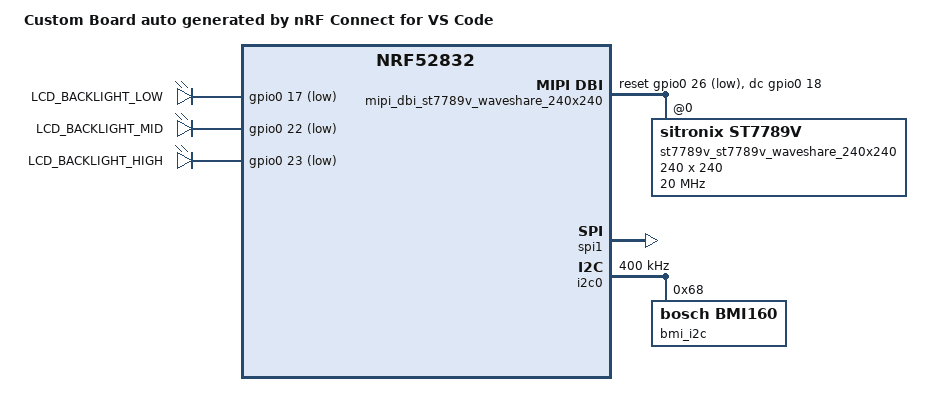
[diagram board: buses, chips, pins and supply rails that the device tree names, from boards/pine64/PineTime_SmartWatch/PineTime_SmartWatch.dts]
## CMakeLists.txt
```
cmake_minimum_required(VERSION 3.13.1)

find_package(Zephyr REQUIRED HINTS $ENV{ZEPHYR_BASE})

project(InfiniTime_Zephyr C CXX)

set(NORDIC_SDK_PATH /Users/an.bui-thien/Downloads/nRF5_SDK_15.3.0_59ac345)

target_include_directories(app PRIVATE 
    src 
    src/systemtask 
    src/components/datetime 
    src/components/fs 
    src/components/settings
    src/components/datetime
    src/components/firmwarevalidator
    src/systemtask
    src/displayapp 
    src/drivers
    src/littlefs
    ${NORDIC_SDK_PATH}/modules/nrfx/drivers/include
    ${NORDIC_SDK_PATH}/modules/nrfx/hal
    ${NORDIC_SDK_PATH}/components/libraries/util
    ${NORDIC_SDK_PATH}/components
    ${NORDIC_SDK_PATH}/components/softdevice/s112/headers
    ${NORDIC_SDK_PATH}/external/freertos/source/include
    )


target_sources(app PRIVATE
    src/main_testing.cpp
    src/drivers/SpiMaster.cpp
    src/drivers/Spi.cpp
    src/drivers/St7789.cpp
    src/drivers/SpiNorFLash.cpp
    src/drivers/TwiMaster.cpp
    src/components/fs/FS.cpp
    src/littlefs/lfs.c
    src/components/settings/Settings.cpp
    src/components/datetime/DateTimeController.cpp
    src/components/firmwarevalidator/FirmwareValidator.cpp
    src/displayapp/DisplayApp.cpp
    src/displayapp/LittleVgl.cpp
    src/systemtask/SystemTask.cpp
)
```

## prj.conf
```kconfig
CONFIG_CPP=y
CONFIG_STDOUT_CONSOLE=y

CONFIG_GLIBCXX_LIBCPP=y   
CONFIG_REQUIRES_FULL_LIBCPP=n


CONFIG_CONSOLE=y                    # Enable console
CONFIG_LOG=y                        # Enable LOG

CONFIG_USE_SEGGER_RTT=y             # Enable RTT SEGGER
CONFIG_RTT_CONSOLE=y                # Enable printk() via RTT
CONFIG_LOG_BACKEND_RTT=y            # Enable LOG_XXX() via RTT
CONFIG_LOG_BACKEND_SHOW_COLOR=y     # Enable color for LOG_XXX()
CONFIG_LOG_MODE_MINIMAL=n           # Enable mini version for LOG_XXX()
CONFIG_LOG_MODE_IMMEDIATE=y         # Immediately LOG

CONFIG_LOG_BACKEND_UART=y           # Enable LOG_XXX() via UART
CONFIG_UART_CONSOLE=y               # Enable printk() via UART
CONFIG_GPIO=y                       # Enable uart driver
CONFIG_SERIAL=y                     # Enable console




CONFIG_GPIO=y
CONFIG_DISPLAY=y
CONFIG_DISPLAY_LOG_LEVEL_DBG=y

CONFIG_LVGL=y
#CONFIG_LV_USE_LOG=n
#CONFIG_LV_USE_LABEL=y
#CONFIG_LV_FONT_MONTSERRAT_48=y
CONFIG_LV_Z_MEM_POOL_HEAP_LIB_C=y

CONFIG_LV_USE_DEMO_BENCHMARK=y





CONFIG_NEWLIB_LIBC=n



CONFIG_MAIN_STACK_SIZE=10240
CONFIG_IDLE_STACK_SIZE=10240


CONFIG_CLOCK_CONTROL_NRF_K32SRC_RC=y
CONFIG_CLOCK_CONTROL_NRF_K32SRC_XTAL=n
CONFIG_CLOCK_CONTROL_NRF_K32SRC_500PPM=y
```

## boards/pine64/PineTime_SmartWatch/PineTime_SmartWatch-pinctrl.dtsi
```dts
&pinctrl {
    spi1_default: spi1_default {
		group1 {
				psels = <NRF_PSEL(SPIM_SCK, 0, 2)>,
						<NRF_PSEL(SPIM_MOSI, 0, 3)>;
		};
	};
	spi1_sleep: spi1_sleep {
		group1 {
				psels = <NRF_PSEL(SPIM_SCK, 0, 2)>,
						<NRF_PSEL(SPIM_MOSI, 0, 3)>;
				low-power-enable;
		};
	};
    i2c0_default: i2c0_default {
		group1 {
			psels = <NRF_PSEL(TWIM_SDA, 0, 7)>,
				<NRF_PSEL(TWIM_SCL, 0, 8)>;
		};
	};

	i2c0_sleep: i2c0_sleep {
		group1 {
			psels = <NRF_PSEL(TWIM_SDA, 0, 7)>,
				<NRF_PSEL(TWIM_SCL, 0, 8)>;
			low-power-enable;
		};
	};
	uart0_default: uart0_default {
        group1 {
            psels = <NRF_PSEL(UART_TX, 0, 8)>; // P0.22
			psels = <NRF_PSEL(UART_RX, 0, 6)>; // P0.21
        };
    };

    uart0_sleep: uart0_sleep {
        group1 {
            psels = <NRF_PSEL(UART_TX, 0, 8)>;
			psels = <NRF_PSEL(UART_RX, 0, 6)>;
        };
    };


};
```

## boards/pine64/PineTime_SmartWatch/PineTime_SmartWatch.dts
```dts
/dts-v1/;
#include <nordic/nrf52832_qfaa.dtsi>
#include "PineTime_SmartWatch-pinctrl.dtsi"
#include <zephyr/dt-bindings/input/input-event-codes.h>
#include <zephyr/dt-bindings/mipi_dbi/mipi_dbi.h>

/ {
	model = "Custom Board auto generated by nRF Connect for VS Code";
	compatible = "pine64,PineTime-SmartWatch";

	chosen {
		zephyr,sram = &sram0;
		zephyr,flash = &flash0;
		zephyr,code-partition = &slot0_partition;
		zephyr,display = &st7789v_st7789v_waveshare_240x240;
	};
	backlight {
        compatible = "gpio-leds";

        backlight_low: backlight_low {
            gpios = <&gpio0 17 GPIO_ACTIVE_LOW>;
            label = "LCD_BACKLIGHT_LOW";
        };

        backlight_mid: backlight_mid {
            gpios = <&gpio0 22 GPIO_ACTIVE_LOW>;
            label = "LCD_BACKLIGHT_MID";
        };

        backlight_high: backlight_high {
            gpios = <&gpio0 23 GPIO_ACTIVE_LOW>;
            label = "LCD_BACKLIGHT_HIGH";
        };
    };
	    aliases {
        backlightlow  = &backlight_low;
        backlightmid  = &backlight_mid;
        backlighthigh = &backlight_high;
		accel0 = &bmi_i2c;
    };

	mipi_dbi_st7789v_waveshare_240x240 {
		compatible = "zephyr,mipi-dbi-spi";
		spi-dev = <&spi1>;
		dc-gpios = <&gpio0 18 GPIO_ACTIVE_HIGH>;	/* LCD_RS (P0.18) */
		reset-gpios = <&gpio0 26 GPIO_ACTIVE_LOW>;	/* LCD_RESET (P0.26) */
		write-only;
		#address-cells = <1>;
		#size-cells = <0>;
		st7789v_st7789v_waveshare_240x240: st7789v@0 {
			compatible = "sitronix,st7789v";
			mipi-max-frequency = <20000000>;
			reg = <0>;
			width = <240>;
			height = <240>;
			x-offset = <0>;
			y-offset = <0>;
			vcom = <0x19>;
			gctrl = <0x35>;
			vrhs = <0x12>;
			vdvs = <0x20>;
			mdac = <0x00>;
			gamma = <0x01>;
			colmod = <0x05>;
			lcm = <0x2c>;
			porch-param = [0c 0c 00 33 33];
			cmd2en-param = [5a 69 02 01];
			pwctrl1-param = [a4 a1];
			pvgam-param = [D0 04 0D 11 13 2B 3F 54 4C 18 0D 0B 1F 23];
			nvgam-param = [D0 04 0C 11 13 2C 3F 44 51 2F 1F 1F 20 23];
			ram-param = [00 F0];
			rgb-param = [CD 08 14];
			mipi-mode = "MIPI_DBI_MODE_SPI_4WIRE";

		};
	};
};

&flash0 {
	partitions {
		compatible = "fixed-partitions";
		#address-cells = <1>;
		#size-cells = <1>;

		boot_partition: partition@0 {
			label = "mcuboot";
			reg = <0x00000000 DT_SIZE_K(48)>;
		};

		slot0_partition: partition@c000 {
			label = "image-0";
			reg = <0x0000c000 DT_SIZE_K(464)>;
		};

		// slot1_partition: partition@43000 {
		// 	label = "image-1";
		// 	reg = <0x00043000 DT_SIZE_K(220)>;
		// };

		storage_partition: partition@7a000 {
			label = "storage";
			reg = <0x0007a000 DT_SIZE_K(4)>;
		};
	};
};

&spi1 {
	status = "okay";
	cs-gpios = <&gpio0 25 GPIO_ACTIVE_LOW>;	/* LCD_CS (P0.25) */
	pinctrl-0 = < &spi1_default >; 
	pinctrl-1 = < &spi1_sleep >;  
	pinctrl-names = "default", "sleep";
	
};




&gpio0 {
    status = "okay";
};
&gpiote {
	status = "okay";
   };  
&spi0 {
    status = "disabled";
};
&spi1 {
    status = "okay";
};

&i2c0 {
	status = "okay";
	clock-frequency = <I2C_BITRATE_FAST>;
	pinctrl-0 = <&i2c0_default>;
	pinctrl-1 = <&i2c0_sleep>;
	pinctrl-names = "default", "sleep";
	bmi_i2c: bmi@68 {
		compatible = "bosch,bmi160";
		reg = <0x68>;
		status = "okay";
	};
};


&uart0 {
    status = "disabled";
    current-speed = <115200>;
    pinctrl-0 = <&uart0_default>;
    pinctrl-1 = <&uart0_sleep>;
    pinctrl-names = "default", "sleep";
};
```

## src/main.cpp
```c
/*
 * Copyright (c) 2018 Jan Van Winkel <jan.van_winkel@dxplore.eu>
 *
 * SPDX-License-Identifier: Apache-2.0
 */

#include <zephyr/device.h>
#include <zephyr/devicetree.h>
#include <zephyr/drivers/display.h>
#include <zephyr/drivers/gpio.h>
#include <lvgl.h>
#include <stdio.h>
#include <string.h>
#include <zephyr/kernel.h>
#include <lvgl_input_device.h>
#include <zephyr/drivers/gpio.h>

#define LOG_LEVEL CONFIG_LOG_DEFAULT_LEVEL
#include <zephyr/logging/log.h>
LOG_MODULE_REGISTER(app);




static uint32_t count;
#define BACKLIGHT_LOW_NODE DT_ALIAS(backlightlow)
#define BACKLIGHT_MID_NODE DT_ALIAS(backlightmid)
#define BACKLIGHT_HIGH_NODE DT_ALIAS(backlighthigh)

const struct gpio_dt_spec bl_low = GPIO_DT_SPEC_GET(BACKLIGHT_LOW_NODE, gpios);
const struct gpio_dt_spec bl_mid = GPIO_DT_SPEC_GET(BACKLIGHT_MID_NODE, gpios);
const struct gpio_dt_spec bl_high = GPIO_DT_SPEC_GET(BACKLIGHT_HIGH_NODE, gpios);

#ifdef CONFIG_GPIO
static struct gpio_dt_spec button_gpio =
        GPIO_DT_SPEC_GET_OR(DT_ALIAS(sw0), gpios, {0});
static struct gpio_callback button_callback;

static void button_isr_callback(const struct device *port,
                struct gpio_callback *cb,
                uint32_t pins)
{
    ARG_UNUSED(port);
    ARG_UNUSED(cb);
    ARG_UNUSED(pins);

    count = 0;
}
#endif /* CONFIG_GPIO */

#ifdef CONFIG_LV_Z_ENCODER_INPUT
static const struct device *lvgl_encoder =
    DEVICE_DT_GET(DT_COMPAT_GET_ANY_STATUS_OKAY(zephyr_lvgl_encoder_input));
#endif /* CONFIG_LV_Z_ENCODER_INPUT */

static void lv_btn_click_callback(lv_event_t *e)
{
    ARG_UNUSED(e);

    count = 0;
}

static int set_backlight_on(void)
{
#if defined(CONFIG_BACKLIGHT_FIRMWARE)

    #define BACKLIGHT_GPIO_DEV  DT_PHANDLE_BY_IDX(DT_ALIAS(backlight), gpios, 0)
    #define BACKLIGHT_PIN       DT_GPIO_PIN(DT_ALIAS(backlight), gpios)
    #define BACKLIGHT_FLAGS     DT_GPIO_FLAGS(DT_ALIAS(backlight), gpios)

    static const struct device * gpio;

    LOG_INF("Backlight firmware configured");

    gpio = DEVICE_DT_GET(BACKLIGHT_GPIO_DEV);
    if (!gpio) {
        return -1;
    }

    gpio_pin_configure(gpio, BACKLIGHT_PIN, GPIO_OUTPUT);
    gpio_pin_set(gpio, BACKLIGHT_PIN, 1);

    return 0;

#elif defined(CONFIG_BACKLIGHT_MANUAL)

    LOG_INF("Backlight manually configured");
    return 0;

#else

    LOG_ERR("Set Backlight configuration method");
    return 0   ;

#endif
}

int main(void)
{
    char count_str[11] = {0};
    const struct device *display_dev;
    lv_obj_t *hello_world_label;
    lv_obj_t *count_label;

    LOG_INF("main: start");

    display_dev = DEVICE_DT_GET(DT_CHOSEN(zephyr_display));
    if (!device_is_ready(display_dev)) {
        LOG_ERR("Device not ready, aborting");
        return 0;
    }

    if (set_backlight_on() < 0) {
        LOG_ERR("Backlight failure: aborting");
        return 0;
    }

#ifdef CONFIG_GPIO
    if (gpio_is_ready_dt(&button_gpio)) {
        int err;

        err = gpio_pin_configure_dt(&button_gpio, GPIO_INPUT);
        if (err) {
            LOG_ERR("failed to configure button gpio: %d", err);
            return 0;
        }

        gpio_init_callback(&button_callback, button_isr_callback,
                   BIT(button_gpio.pin));

        err = gpio_add_callback(button_gpio.port, &button_callback);
        if (err) {
            LOG_ERR("failed to add button callback: %d", err);
            return 0;
        }

        err = gpio_pin_interrupt_configure_dt(&button_gpio,
                              GPIO_INT_EDGE_TO_ACTIVE);
        if (err) {
            LOG_ERR("failed to enable button callback: %d", err);
            return 0;
        }
    }
#endif /* CONFIG_GPIO */

#ifdef CONFIG_LV_Z_ENCODER_INPUT
    lv_obj_t *arc;
    lv_group_t *arc_group;

    arc = lv_arc_create(lv_scr_act());
    lv_obj_align(arc, LV_ALIGN_CENTER, 0, 0);
    lv_obj_set_size(arc, 150, 150);

    arc_group = lv_group_create();
    lv_group_add_obj(arc_group, arc);
    lv_indev_set_group(lvgl_input_get_indev(lvgl_encoder), arc_group);
#endif /* CONFIG_LV_Z_ENCODER_INPUT */

    if (IS_ENABLED(CONFIG_LV_Z_POINTER_KSCAN) || IS_ENABLED(CONFIG_LV_Z_POINTER_INPUT)) {
        lv_obj_t *hello_world_button;

        hello_world_button = lv_btn_create(lv_scr_act());
        lv_obj_align(hello_world_button, LV_ALIGN_CENTER, 0, 0);
        lv_obj_add_event_cb(hello_world_button, lv_btn_click_callback, LV_EVENT_CLICKED,
                        NULL);
        hello_world_label = lv_label_create(hello_world_button);
    } else {
        hello_world_label = lv_label_create(lv_scr_act());
    }

    lv_label_set_text(hello_world_label, "Di Mat (Di Max)");
    lv_obj_align(hello_world_label, LV_ALIGN_CENTER, 0, 0);
    

    count_label = lv_label_create(lv_scr_act());
    lv_obj_align(count_label, LV_ALIGN_BOTTOM_MID, 0, 0);

    lv_task_handler();
    display_blanking_off(display_dev);
    gpio_pin_configure_dt(&bl_low, GPIO_OUTPUT_ACTIVE);  // Bật P0.14
    gpio_pin_configure_dt(&bl_mid, GPIO_OUTPUT_ACTIVE);  // Tắt P0.22
    gpio_pin_configure_dt(&bl_high, GPIO_OUTPUT_ACTIVE); // Tắt P0.23
    gpio_pin_set_dt(&bl_low, 1);
    gpio_pin_set_dt(&bl_mid, 1);
    gpio_pin_set_dt(&bl_high, 1);
    while (1) {
        if ((count % 100) == 0U) {
            sprintf(count_str, "%d", count/100U);
            lv_label_set_text(count_label, count_str);
        }
        lv_task_handler();
        ++count;
        k_sleep(K_MSEC(10));
    }
}




// #include <zephyr/kernel.h>
// #include <zephyr/logging/log.h>
// #include <zephyr/device.h>
// #include <zephyr/drivers/spi.h>
// #include <zephyr/drivers/gpio.h>

// #define BACKLIGHT_LOW_NODE DT_ALIAS(backlightlow)
// #define BACKLIGHT_MID_NODE DT_ALIAS(backlightmid)
// #define BACKLIGHT_HIGH_NODE DT_ALIAS(backlighthigh)

// const struct gpio_dt_spec bl_low = GPIO_DT_SPEC_GET(BACKLIGHT_LOW_NODE, gpios);
// const struct gpio_dt_spec bl_mid = GPIO_DT_SPEC_GET(BACKLIGHT_MID_NODE, gpios);
// const struct gpio_dt_spec bl_high = GPIO_DT_SPEC_GET(BACKLIGHT_HIGH_NODE, gpios);

// int main(void)
// {
//     printk("Hello, world!\n");
//     gpio_pin_configure_dt(&bl_low, GPIO_OUTPUT_ACTIVE);  // Bật P0.14
//     gpio_pin_configure_dt(&bl_mid, GPIO_OUTPUT_ACTIVE);  // Tắt P0.22
//     gpio_pin_configure_dt(&bl_high, GPIO_OUTPUT_ACTIVE); // Tắt P0.23
//     gpio_pin_set_dt(&bl_low, 1);
// }
```

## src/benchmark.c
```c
#include <zephyr/kernel.h>
#include <lvgl.h>
#include "lv_demo_benchmark.h"
#include <zephyr/drivers/gpio.h>

#define BACKLIGHT_LOW_NODE DT_ALIAS(backlightlow)
#define BACKLIGHT_MID_NODE DT_ALIAS(backlightmid)
#define BACKLIGHT_HIGH_NODE DT_ALIAS(backlighthigh)

const struct gpio_dt_spec bl_low = GPIO_DT_SPEC_GET(BACKLIGHT_LOW_NODE, gpios);
const struct gpio_dt_spec bl_mid = GPIO_DT_SPEC_GET(BACKLIGHT_MID_NODE, gpios);
const struct gpio_dt_spec bl_high = GPIO_DT_SPEC_GET(BACKLIGHT_HIGH_NODE, gpios);
const struct device *display_dev;

static int set_backlight_on(void)
{
#if defined(CONFIG_BACKLIGHT_FIRMWARE)

    #define BACKLIGHT_GPIO_DEV  DT_PHANDLE_BY_IDX(DT_ALIAS(backlight), gpios, 0)
    #define BACKLIGHT_PIN       DT_GPIO_PIN(DT_ALIAS(backlight), gpios)
    #define BACKLIGHT_FLAGS     DT_GPIO_FLAGS(DT_ALIAS(backlight), gpios)

    static const struct device * gpio;

    LOG_INF("Backlight firmware configured");

    gpio = DEVICE_DT_GET(BACKLIGHT_GPIO_DEV);
    if (!gpio) {
        return -1;
    }

    gpio_pin_configure(gpio, BACKLIGHT_PIN, GPIO_OUTPUT);
    gpio_pin_set(gpio, BACKLIGHT_PIN, 1);

    return 0;

#elif defined(CONFIG_BACKLIGHT_MANUAL)

    LOG_INF("Backlight manually configured");
    return 0;

#else

    LOG_ERR("Set Backlight configuration method");
    return 0   ;

#endif
}



int main(void) {

    display_dev = DEVICE_DT_GET(DT_CHOSEN(zephyr_display));
    if (!device_is_ready(display_dev)) {
        LOG_ERR("Device not ready, aborting");
        return 0;
    }

    if (set_backlight_on() < 0) {
        LOG_ERR("Backlight failure: aborting");
        return 0;
    }


    lv_demo_benchmark();
        display_blanking_off(display_dev);
    gpio_pin_configure_dt(&bl_low, GPIO_OUTPUT_ACTIVE);  // Bật P0.14
    gpio_pin_configure_dt(&bl_mid, GPIO_OUTPUT_ACTIVE);  // Tắt P0.22
    gpio_pin_configure_dt(&bl_high, GPIO_OUTPUT_ACTIVE); // Tắt P0.23
    gpio_pin_set_dt(&bl_low, 1);
    gpio_pin_set_dt(&bl_mid, 1);
    gpio_pin_set_dt(&bl_high, 1);
    while (1) {
        k_sleep(K_MSEC(100));
        lv_task_handler();
    }
    return 1;
}
```

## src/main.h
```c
#pragma once

// #include <FreeRTOS.h>
// #include <timers.h>
#include <nrfx_gpiote.h>

//void nrfx_gpiote_evt_handler(nrfx_gpiote_pin_t pin, nrf_gpiote_polarity_t action);
//void DebounceTimerCallback(TimerHandle_t xTimer);

extern int mallocFailedCount;
extern int stackOverflowCount;
```

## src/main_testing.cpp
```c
/*
 * Copyright (c) 2023 Benjamin Cabé <benjamin@zephyrproject.org>
 *
 * SPDX-License-Identifier: Apache-2.0
 */

#include <zephyr/device.h>
#include <zephyr/devicetree.h>
#include <zephyr/drivers/display.h>
#include <zephyr/drivers/sensor.h>
#include <lvgl.h>
#include <stdio.h>
#include <string.h>
#include <zephyr/kernel.h>
#include <zephyr/drivers/gpio.h>
#include <math.h>
#include <zephyr/logging/log.h>

/* From FreeRTOS InfiniTime */
#include "components/fs/FS.h"
#include "components/settings/Settings.h"
#include "drivers/Spi.h"
#include "drivers/SpiMaster.h"
#include "drivers/SpiNorFlash.h"
#include "drivers/St7789.h"
#include "drivers/TwiMaster.h"
#include "drivers/PinMap.h"
#include "components/datetime/DateTimeController.h"
#include "systemtask/SystemTask.h"


#include "systemtask/Messages.h"

static constexpr uint8_t touchPanelTwiAddress = 0x15;

LOG_MODULE_REGISTER(app, CONFIG_LOG_DEFAULT_LEVEL);

Pinetime::Drivers::SpiMaster spi {Pinetime::Drivers::SpiMaster::SpiModule::SPI0,
                                  {Pinetime::Drivers::SpiMaster::BitOrder::Msb_Lsb,
                                   Pinetime::Drivers::SpiMaster::Modes::Mode3,
                                   Pinetime::Drivers::SpiMaster::Frequencies::Freq8Mhz,
                                   Pinetime::PinMap::SpiSck,
                                   Pinetime::PinMap::SpiMosi,
                                   Pinetime::PinMap::SpiMiso}};

Pinetime::Drivers::Spi lcdSpi {spi, Pinetime::PinMap::SpiLcdCsn};
Pinetime::Drivers::St7789 lcd {lcdSpi, Pinetime::PinMap::LcdDataCommand, Pinetime::PinMap::LcdReset};

Pinetime::Drivers::Spi flashSpi {spi, Pinetime::PinMap::SpiFlashCsn};
Pinetime::Drivers::SpiNorFlash spiNorFlash {flashSpi};

static constexpr uint32_t MaxTwiFrequencyWithoutHardwareBug {0x06200000};
Pinetime::Drivers::TwiMaster twiMaster {NRF_TWIM1, MaxTwiFrequencyWithoutHardwareBug, Pinetime::PinMap::TwiSda, Pinetime::PinMap::TwiScl};

Pinetime::Controllers::FS fs {spiNorFlash};
Pinetime::Controllers::Settings settingsController {fs};

Pinetime::Controllers::DateTime dateTimeController {settingsController};
Pinetime::Controllers::BrightnessController brightnessController {};


Pinetime::Applications::DisplayApp displayApp(lcd,
                                              //touchPanel,
                                              //batteryController,
                                              //bleController,
                                              dateTimeController,
                                              //watchdog,
                                              //notificationManager,
                                              //heartRateController,
                                              settingsController,
                                              //motorController,
                                              //motionController,
                                              //alarmController,
                                              brightnessController,
                                              //touchHandler,
                                              fs
                                              //spiNorFlash
                                              );


Pinetime::System::SystemTask systemTask(spi,
                                        //spiNorFlash,
                                        twiMaster,
                                        //touchPanel,
                                        //batteryController,
                                        //bleController,
                                        dateTimeController,
                                        //alarmController,
                                        //watchdog,
                                        //notificationManager,
                                        //heartRateSensor,
                                        //motionController,
                                        //motionSensor,
                                        settingsController,
                                        //heartRateController,
                                        displayApp
                                        //heartRateApp,
                                        //fs,
                                        //touchHandler,
                                        //buttonHandler
                                        );


void SPIM0_SPIS0_TWIM0_TWIS0_SPI0_TWI0_IRQHandler(void) {
  if (((NRF_SPIM0->INTENSET & (1 << 6)) != 0) && NRF_SPIM0->EVENTS_END == 1) {
    NRF_SPIM0->EVENTS_END = 0;
    //NRF_LOG_INFO("spi.OnEndEvent is triggered!");
    spi.OnEndEvent();
  }

  if (((NRF_SPIM0->INTENSET & (1 << 19)) != 0) && NRF_SPIM0->EVENTS_STARTED == 1) {
    NRF_SPIM0->EVENTS_STARTED = 0;
    //NRF_LOG_INFO("spi.OnStartedEvent is triggered!");
    spi.OnStartedEvent();
  }

  if (((NRF_SPIM0->INTENSET & (1 << 1)) != 0) && NRF_SPIM0->EVENTS_STOPPED == 1) {
    NRF_SPIM0->EVENTS_STOPPED = 0;
  }
}


// static lv_obj_t *chart1;
// static lv_chart_series_t *ser_x;
// static lv_chart_series_t *ser_y;
// static lv_chart_series_t *ser_z;
// static lv_timer_t *sensor_timer;

// const struct device *accel_sensor;

#include <zephyr/drivers/gpio.h>
#define BACKLIGHT_LOW_NODE DT_ALIAS(backlightlow)
#define BACKLIGHT_MID_NODE DT_ALIAS(backlightmid)
#define BACKLIGHT_HIGH_NODE DT_ALIAS(backlighthigh)

const struct gpio_dt_spec bl_low = GPIO_DT_SPEC_GET(BACKLIGHT_LOW_NODE, gpios);
const struct gpio_dt_spec bl_mid = GPIO_DT_SPEC_GET(BACKLIGHT_MID_NODE, gpios);
const struct gpio_dt_spec bl_high = GPIO_DT_SPEC_GET(BACKLIGHT_HIGH_NODE, gpios);
/* Timer handler: fetches sensor data and appends it to the chart */
// static void sensor_timer_cb(lv_timer_t *timer)
// {
// 	struct sensor_value accel[3];
// 	int rc = sensor_sample_fetch(accel_sensor);

// 	if (rc == 0) {
// 		rc = sensor_channel_get(accel_sensor, SENSOR_CHAN_ACCEL_XYZ, accel);
// 	}
// 	if (rc < 0) {
// 		LOG_ERR("ERROR: Update failed: %d\n", rc);
// 		return;
// 	}
// 	lv_chart_set_next_value(chart1, ser_x, sensor_value_to_double(&accel[0]));
// 	lv_chart_set_next_value(chart1, ser_y, sensor_value_to_double(&accel[1]));
// 	lv_chart_set_next_value(chart1, ser_z, sensor_value_to_double(&accel[2]));
// }
// static void sensor_timer_cb(lv_timer_t *timer)
// {
//     static double t = 0;
//     struct sensor_value accel[3];

//     // Dao động chính
//     double base_x = 2.0 * sin(t * 2.0) + 0.5 * cos(t * 5.0);
//     double base_y = 1.5 * sin(t * 1.8 + 1.0) + 0.4 * cos(t * 4.2);
//     double base_z = 1.0 * sin(t * 2.5 + 2.0) + 0.3 * cos(t * 3.5);

//     // Nhiễu ngẫu nhiên ±0.3
//     double noise_x = ((rand() % 100) / 100.0 - 0.5) * 0.6;
//     double noise_y = ((rand() % 100) / 100.0 - 0.5) * 0.6;
//     double noise_z = ((rand() % 100) / 100.0 - 0.5) * 0.6;

//     // Tổng hợp + scale ra m/s² hoặc mg
//     accel[0].val1 = (int)((base_x + noise_x) * 9.81); // m/s²
//     accel[1].val1 = (int)((base_y + noise_y) * 9.81);
//     accel[2].val1 = (int)((base_z + noise_z) * 9.81);

//     accel[0].val2 = 0;
//     accel[1].val2 = 0;
//     accel[2].val2 = 0;

//     t += 0.05; // Tăng thời gian

//     lv_chart_set_next_value(chart1, ser_x, sensor_value_to_double(&accel[0]));
//     lv_chart_set_next_value(chart1, ser_y, sensor_value_to_double(&accel[1]));
//     lv_chart_set_next_value(chart1, ser_z, sensor_value_to_double(&accel[2]));
// }
// static void create_accelerometer_chart(lv_obj_t *parent)
// {
//     chart1 = lv_chart_create(parent);
//     lv_obj_set_size(chart1, LV_HOR_RES, LV_VER_RES);
//     lv_chart_set_type(chart1, LV_CHART_TYPE_LINE);
//     lv_chart_set_div_line_count(chart1, 5, 8);
//     lv_chart_set_range(chart1, LV_CHART_AXIS_PRIMARY_Y, -20, 20); /* roughly -/+ 2G */
//     lv_chart_set_update_mode(chart1, LV_CHART_UPDATE_MODE_SHIFT);

//     ser_x = lv_chart_add_series(chart1, lv_palette_main(LV_PALETTE_RED),
//                                 LV_CHART_AXIS_PRIMARY_Y);
//     ser_y = lv_chart_add_series(chart1, lv_palette_main(LV_PALETTE_BLUE),
//                                 LV_CHART_AXIS_PRIMARY_Y);
//     ser_z = lv_chart_add_series(chart1, lv_palette_main(LV_PALETTE_GREEN),
//                                 LV_CHART_AXIS_PRIMARY_Y);

//     lv_chart_set_point_count(chart1, 50);

//     /* Do not display point markers on the data */
//     lv_obj_set_style_size(chart1, 0, 0, LV_PART_INDICATOR);
// }

int main(void)
{

    const struct device *display_dev;

    display_dev = DEVICE_DT_GET(DT_CHOSEN(zephyr_display));
    if (!device_is_ready(display_dev))
    {
        LOG_ERR("Device not ready, aborting test");
        return -ENODEV;
    }
    printk("Hello, world! %d \n", Pinetime::System::Messages::OnNewTime);
    // accel_sensor = DEVICE_DT_GET(DT_ALIAS(accel0));
    // if (!device_is_ready(accel_sensor)) {
    // 	LOG_ERR("Device %s is not ready\n", accel_sensor->name);
    // 	return -ENODEV;
    // }

    gpio_pin_configure_dt(&bl_low, GPIO_OUTPUT_ACTIVE);  // Bật P0.14
    gpio_pin_configure_dt(&bl_mid, GPIO_OUTPUT_ACTIVE);  // Tắt P0.22
    gpio_pin_configure_dt(&bl_high, GPIO_OUTPUT_ACTIVE); // Tắt P0.23
    gpio_pin_set_dt(&bl_low, 1);
    gpio_pin_set_dt(&bl_mid, 1);
    gpio_pin_set_dt(&bl_high, 1);
    // create_accelerometer_chart(lv_screen_active());
    // sensor_timer = lv_timer_create(sensor_timer_cb,
    //                                1000 / 50,
    //                                NULL);
    lv_timer_handler();
    display_blanking_off(display_dev);


    systemTask.Start();

    while (1)
    {
        uint32_t sleep_ms = lv_timer_handler();

        k_msleep(MIN(sleep_ms, INT32_MAX));
        // while(1);
    }

    return 0;
}
```
